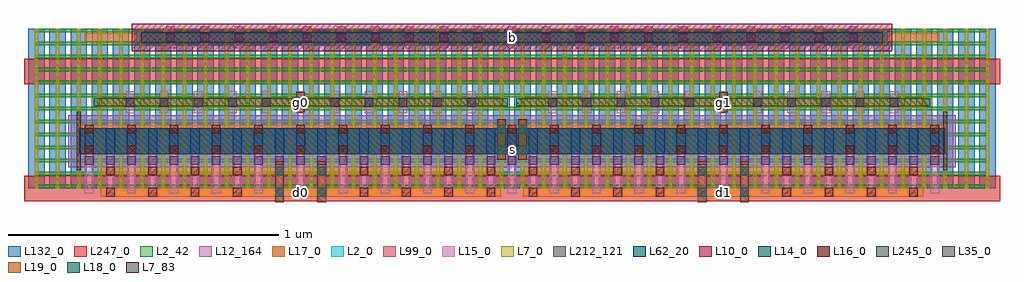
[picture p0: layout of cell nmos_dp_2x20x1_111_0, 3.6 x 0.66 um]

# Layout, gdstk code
import gdstk
lib = gdstk.Library(unit=1e-6, precision=1e-12)
def R(c, l, rs):  # rectangles x0, y0, x1, y1
    for r in rs: c.add(gdstk.rectangle(r[:2], r[2:], *l))
def A(c, l, x, y, w, h, nx, ny, dx, dy):  # array of equal rectangles
    R(c, l, [(x+i*dx, y+j*dy, x+i*dx+w, y+j*dy+h) for i in range(nx) for j in range(ny)])
L2_0 = (2, 0)
L2_42 = (2, 42)
L7_0 = (7, 0)
L7_83 = (7, 83)
L10_0 = (10, 0)
L12_164 = (12, 164)
L14_0 = (14, 0)
L15_0 = (15, 0)
L16_0 = (16, 0)
L17_0 = (17, 0)
L18_0 = (18, 0)
L19_0 = (19, 0)
L35_0 = (35, 0)
L62_20 = (62, 20)
L99_0 = (99, 0)
L132_0 = (132, 0)
L212_121 = (212, 121)
L245_0 = (245, 0)
L247_0 = (247, 0)

nmos_dp_2x20x1_111_0 = lib.new_cell('nmos_dp_2x20x1_111_0')
R(nmos_dp_2x20x1_111_0, L2_0, [(0.186,0.127,3.384,0.223), (0.401,0.527,3.169,0.587)])
A(nmos_dp_2x20x1_111_0, L2_42, 0.023, 0, 3.51, 0.014, 1, 13, 0, 0.048)
A(nmos_dp_2x20x1_111_0, L7_0, 0.023, 0, 0.014, 0.59, 46, 1, 0.078, 0)
R(nmos_dp_2x20x1_111_0, L7_83, [(0.179,0.067,0.193,0.283), (3.377,0.067,3.391,0.283)])
R(nmos_dp_2x20x1_111_0, L10_0, [(0.381,0.507,3.189,0.607)])
R(nmos_dp_2x20x1_111_0, L12_164, [(0.147,0.079,3.423,0.271)])
A(nmos_dp_2x20x1_111_0, L14_0, 0.208, 0.127, 0.034, 0.096, 41, 1, 0.078, 0)
R(nmos_dp_2x20x1_111_0, L14_0, [(0.416,0.537,3.154,0.577)])
A(nmos_dp_2x20x1_111_0, L15_0, 0.209, -0.017, 0.032, 0.24, 41, 1, 0.078, 0)
A(nmos_dp_2x20x1_111_0, L15_0, 0.359, 0.278, 0.032, 0.08, 11, 1, 0.126, 0)
A(nmos_dp_2x20x1_111_0, L15_0, 1.919, 0.278, 0.032, 0.08, 11, 1, 0.126, 0)
A(nmos_dp_2x20x1_111_0, L15_0, 0.509, 0.517, 0.032, 0.08, 21, 1, 0.126, 0)
A(nmos_dp_2x20x1_111_0, L16_0, 0.287, -0.03, 0.032, 0.032, 20, 2, 0.156, 0.078)
A(nmos_dp_2x20x1_111_0, L16_0, 0.209, 0.126, 0.032, 0.032, 21, 2, 0.156, 0.078)
A(nmos_dp_2x20x1_111_0, L16_0, 0.359, 0.302, 0.032, 0.032, 11, 1, 0.126, 0)
A(nmos_dp_2x20x1_111_0, L16_0, 1.919, 0.302, 0.032, 0.032, 11, 1, 0.126, 0)
A(nmos_dp_2x20x1_111_0, L16_0, 0.509, 0.541, 0.032, 0.032, 21, 1, 0.126, 0)
R(nmos_dp_2x20x1_111_0, L17_0, [(0.267,-0.03,1.743,0.002), (1.827,-0.03,3.303,0.002), (0.267,0.048,1.743,0.08), (1.827,0.048,3.303,0.08), (0.186,0.126,3.384,0.158), (0.186,0.204,3.384,0.236), (0.261,0.302,1.749,0.334), (1.821,0.302,3.309,0.334), (0.209,0.541,3.361,0.573)])
R(nmos_dp_2x20x1_111_0, L18_0, [(0.911,-0.03,0.943,0.002), (1.067,-0.03,1.099,0.002), (2.471,-0.03,2.503,0.002), (2.627,-0.03,2.659,0.002), (0.911,0.048,0.943,0.08), (1.067,0.048,1.099,0.08), (2.471,0.048,2.503,0.08), (2.627,0.048,2.659,0.08), (1.73,0.126,1.762,0.158), (1.808,0.126,1.84,0.158), (1.73,0.204,1.762,0.236), (1.808,0.204,1.84,0.236), (0.989,0.302,1.021,0.334), (2.549,0.302,2.581,0.334)])
R(nmos_dp_2x20x1_111_0, L19_0, [(0.911,-0.05,0.943,0.1), (1.067,-0.05,1.099,0.1), (2.471,-0.05,2.503,0.1), (2.627,-0.05,2.659,0.1), (1.73,0.106,1.762,0.256), (1.808,0.106,1.84,0.256), (0.989,0.282,1.021,0.355), (2.549,0.282,2.581,0.355)])
A(nmos_dp_2x20x1_111_0, L35_0, 0.209, 0.087, 0.032, 0.032, 41, 1, 0.078, 0)
A(nmos_dp_2x20x1_111_0, L35_0, 0.359, 0.302, 0.032, 0.032, 11, 1, 0.126, 0)
A(nmos_dp_2x20x1_111_0, L35_0, 1.919, 0.302, 0.032, 0.032, 11, 1, 0.126, 0)
A(nmos_dp_2x20x1_111_0, L35_0, 0.509, 0.541, 0.032, 0.032, 21, 1, 0.126, 0)
R(nmos_dp_2x20x1_111_0, L62_20, [(0.186,0.127,3.384,0.223)])
R(nmos_dp_2x20x1_111_0, L99_0, [(0.186,0.127,3.384,0.223), (0.411,0.532,3.159,0.582)])
A(nmos_dp_2x20x1_111_0, L132_0, 0, 0, 0.06, 0.59, 46, 1, 0.078, 0)
R(nmos_dp_2x20x1_111_0, L212_121, [(0.186,0.127,3.384,0.223)])
R(nmos_dp_2x20x1_111_0, L245_0, [(0.241,0.303,1.769,0.333), (1.801,0.303,3.329,0.333)])
R(nmos_dp_2x20x1_111_0, L247_0, [(-0.016,-0.047,3.586,0.047), (-0.016,0.385,3.586,0.479)])
nmos_dp_2x20x1_111_0.add(gdstk.Label('s', (1.785,0.142), layer=16, texttype=20))
nmos_dp_2x20x1_111_0.add(gdstk.Label('d1', (2.565,-0.014), layer=16, texttype=20))
nmos_dp_2x20x1_111_0.add(gdstk.Label('d0', (1.005,-0.014), layer=16, texttype=20))
nmos_dp_2x20x1_111_0.add(gdstk.Label('g0', (1.005,0.3185), layer=16, texttype=20))
nmos_dp_2x20x1_111_0.add(gdstk.Label('g1', (2.565,0.3185), layer=16, texttype=20))
nmos_dp_2x20x1_111_0.add(gdstk.Label('b', (1.785,0.557), layer=16, texttype=20))

lib.write_gds('nmos_dp_2x20x1_111_0.gds')
